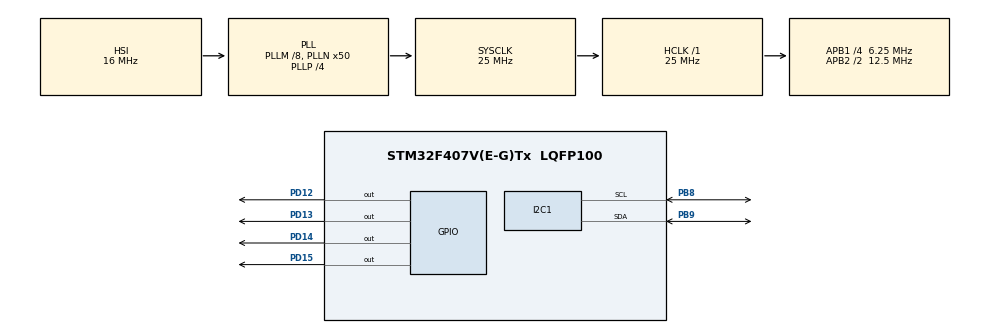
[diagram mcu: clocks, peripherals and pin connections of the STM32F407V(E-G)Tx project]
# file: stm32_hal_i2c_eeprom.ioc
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Mcu.Family=STM32F4
Mcu.Name=STM32F407V(E-G)Tx
Mcu.Package=LQFP100
NVIC.PriorityGroup=NVIC_PRIORITYGROUP_0
PB8.Mode=I2C
PB8.Signal=I2C1_SCL
PB9.Mode=I2C
PB9.Signal=I2C1_SDA
PD12.Signal=GPIO_Output
PD13.Signal=GPIO_Output
PD14.Signal=GPIO_Output
PD15.Signal=GPIO_Output
ProjectManager.HeapSize=0x200
ProjectManager.StackSize=0x400
ProjectManager.TargetToolchain=STM32CubeIDE
RCC.48MHZClocksFreq_Value=14285714.285714285
RCC.AHBFreq_Value=25000000
RCC.APB1CLKDivider=RCC_HCLK_DIV4
RCC.APB1Freq_Value=6250000
RCC.APB1TimFreq_Value=12500000
RCC.APB2CLKDivider=RCC_HCLK_DIV2
RCC.APB2Freq_Value=12500000
RCC.APB2TimFreq_Value=25000000
RCC.CortexFreq_Value=25000000
RCC.HCLKFreq_Value=25000000
RCC.HSE_VALUE=8000000
RCC.HSI_VALUE=16000000
RCC.LSE_VALUE=32768
RCC.PLLM=8
RCC.PLLN=50
RCC.PLLP=RCC_PLLP_DIV4
RCC.PLLQ=7
RCC.SYSCLKFreq_VALUE=25000000
RCC.SYSCLKSource=RCC_SYSCLKSOURCE_PLLCLK
RCC.VCOOutputFreq_Value=100000000
board=STM32F407G-DISC1

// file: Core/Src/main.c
/* USER CODE BEGIN Header */
/**
  ******************************************************************************
  * @file           : main.c
  * @brief          : Main program body
  ******************************************************************************
  * @attention
  *
  * Copyright (c) 2023 STMicroelectronics.
  * All rights reserved.
  *
  * This software is licensed under terms that can be found in the LICENSE file
  * in the root directory of this software component.
  * If no LICENSE file comes with this software, it is provided AS-IS.
  *
  ******************************************************************************
  */
/* USER CODE END Header */
#include "main.h"

/* USER CODE BEGIN Includes */
#include <string.h>
/* USER CODE END Includes */

I2C_HandleTypeDef hi2c1;

void SystemClock_Config(void);
static void MX_GPIO_Init(void);
static void MX_I2C1_Init(void);

int main(void)
{

  /* MCU Configuration--------------------------------------------------------*/

  /* Reset of all peripherals, Initializes the Flash interface and the Systick. */
  HAL_Init();

  /* Configure the system clock */
  SystemClock_Config();

  /* Initialize all configured peripherals */
  MX_GPIO_Init();
  MX_I2C1_Init();
  /* USER CODE BEGIN 2 */
  HAL_StatusTypeDef ret;
  ret = HAL_I2C_IsDeviceReady(&hi2c1, 0xA0, 3, HAL_MAX_DELAY);
  if(ret == HAL_OK)
	  HAL_GPIO_WritePin(GPIOD, GPIO_PIN_12, GPIO_PIN_SET);
  else
	  HAL_GPIO_WritePin(GPIOD, GPIO_PIN_14, GPIO_PIN_SET);

  char tx_data[32] = "DESD -- God Bless You!";
  ret = HAL_I2C_Mem_Write(&hi2c1, 0xA0, 0x0000, 2, (uint8_t*)tx_data, strlen(tx_data)+1, HAL_MAX_DELAY);
  if(ret == HAL_OK)
	  HAL_GPIO_WritePin(GPIOD, GPIO_PIN_13, GPIO_PIN_SET);
  else
	  HAL_GPIO_WritePin(GPIOD, GPIO_PIN_14, GPIO_PIN_SET);

  char rx_data[32] = "";
  ret = HAL_I2C_Mem_Read(&hi2c1, 0xA0, 0x0000, 2, (uint8_t*)rx_data, 32, HAL_MAX_DELAY);
  if(ret == HAL_OK)
	  HAL_GPIO_WritePin(GPIOD, GPIO_PIN_15, GPIO_PIN_SET);
  else
	  HAL_GPIO_WritePin(GPIOD, GPIO_PIN_14, GPIO_PIN_SET);
  /* USER CODE END 2 */

  /* Infinite loop */
  while (1)
  {

  }
}

void SystemClock_Config(void)
{
  RCC_OscInitTypeDef RCC_OscInitStruct = {0};
  RCC_ClkInitTypeDef RCC_ClkInitStruct = {0};

  /** Configure the main internal regulator output voltage
  */
  __HAL_RCC_PWR_CLK_ENABLE();
  __HAL_PWR_VOLTAGESCALING_CONFIG(PWR_REGULATOR_VOLTAGE_SCALE1);

  /** Initializes the RCC Oscillators according to the specified parameters
  * in the RCC_OscInitTypeDef structure.
  */
  RCC_OscInitStruct.OscillatorType = RCC_OSCILLATORTYPE_HSI;
  RCC_OscInitStruct.HSIState = RCC_HSI_ON;
  RCC_OscInitStruct.HSICalibrationValue = RCC_HSICALIBRATION_DEFAULT;
  RCC_OscInitStruct.PLL.PLLState = RCC_PLL_ON;
  RCC_OscInitStruct.PLL.PLLSource = RCC_PLLSOURCE_HSI;
  RCC_OscInitStruct.PLL.PLLM = 8;
  RCC_OscInitStruct.PLL.PLLN = 50;
  RCC_OscInitStruct.PLL.PLLP = RCC_PLLP_DIV4;
  RCC_OscInitStruct.PLL.PLLQ = 7;
  if (HAL_RCC_OscConfig(&RCC_OscInitStruct) != HAL_OK)
  {
    Error_Handler();
  }

  /** Initializes the CPU, AHB and APB buses clocks
  */
  RCC_ClkInitStruct.ClockType = RCC_CLOCKTYPE_HCLK|RCC_CLOCKTYPE_SYSCLK
                              |RCC_CLOCKTYPE_PCLK1|RCC_CLOCKTYPE_PCLK2;
  RCC_ClkInitStruct.SYSCLKSource = RCC_SYSCLKSOURCE_PLLCLK;
  RCC_ClkInitStruct.AHBCLKDivider = RCC_SYSCLK_DIV1;
  RCC_ClkInitStruct.APB1CLKDivider = RCC_HCLK_DIV4;
  RCC_ClkInitStruct.APB2CLKDivider = RCC_HCLK_DIV2;

  if (HAL_RCC_ClockConfig(&RCC_ClkInitStruct, FLASH_LATENCY_0) != HAL_OK)
  {
    Error_Handler();
  }
}

static void MX_I2C1_Init(void)
{

  hi2c1.Instance = I2C1;
  hi2c1.Init.ClockSpeed = 100000;
  hi2c1.Init.DutyCycle = I2C_DUTYCYCLE_2;
  hi2c1.Init.OwnAddress1 = 0;
  hi2c1.Init.AddressingMode = I2C_ADDRESSINGMODE_7BIT;
  hi2c1.Init.DualAddressMode = I2C_DUALADDRESS_DISABLE;
  hi2c1.Init.OwnAddress2 = 0;
  hi2c1.Init.GeneralCallMode = I2C_GENERALCALL_DISABLE;
  hi2c1.Init.NoStretchMode = I2C_NOSTRETCH_DISABLE;
  if (HAL_I2C_Init(&hi2c1) != HAL_OK)
  {
    Error_Handler();
  }

}

static void MX_GPIO_Init(void)
{
  GPIO_InitTypeDef GPIO_InitStruct = {0};

  /* GPIO Ports Clock Enable */
  __HAL_RCC_GPIOD_CLK_ENABLE();
  __HAL_RCC_GPIOB_CLK_ENABLE();

  /*Configure GPIO pin Output Level */
  HAL_GPIO_WritePin(GPIOD, GPIO_PIN_12|GPIO_PIN_13|GPIO_PIN_14|GPIO_PIN_15, GPIO_PIN_RESET);

  /*Configure GPIO pins : PD12 PD13 PD14 PD15 */
  GPIO_InitStruct.Pin = GPIO_PIN_12|GPIO_PIN_13|GPIO_PIN_14|GPIO_PIN_15;
  GPIO_InitStruct.Mode = GPIO_MODE_OUTPUT_PP;
  GPIO_InitStruct.Pull = GPIO_NOPULL;
  GPIO_InitStruct.Speed = GPIO_SPEED_FREQ_LOW;
  HAL_GPIO_Init(GPIOD, &GPIO_InitStruct);

}

void Error_Handler(void)
{
  __disable_irq();
  while (1)
  {
  }
}
